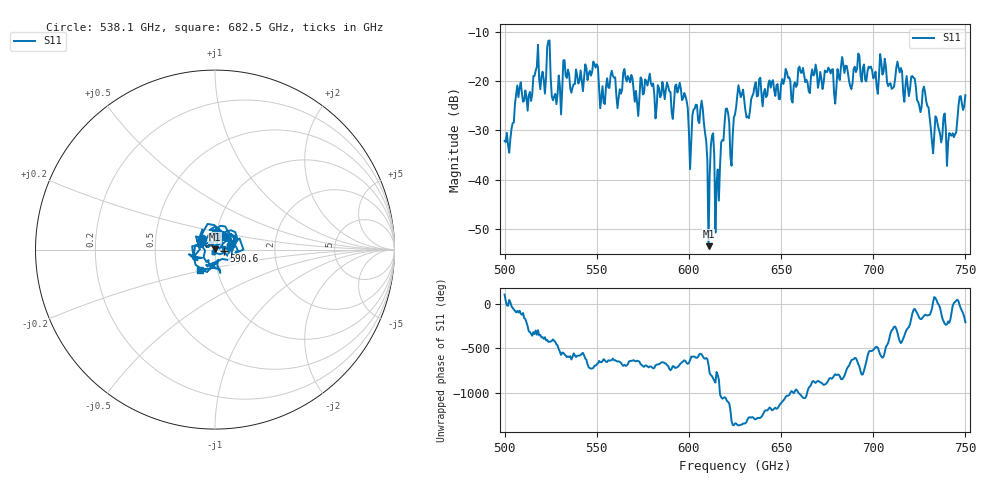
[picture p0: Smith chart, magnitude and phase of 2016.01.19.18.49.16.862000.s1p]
!Created with skrf (http://scikit-rf.org).
# GHz S RI R 50.0
!freq ReS11 ImS11
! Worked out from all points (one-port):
!   401 points, 500 GHz to 750 GHz, reference 50 ohm
!   lowest |S11| = -53.5 dB at 610.6 GHz (marker M1), VSWR 1.00, Z = 50.2 + j0.128 ohm
!   |S11| at or under -10 dB: start of sweep to end of sweep
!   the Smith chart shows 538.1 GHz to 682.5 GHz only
!   S11 on the Smith chart (normalised r, x): 538.1 GHz: 0.86, +0.10; 590.6 GHz: 1.10, -0.02; 682.5 GHz: 0.82, -0.19
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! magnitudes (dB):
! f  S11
! 500 GHz  -32.1
! 516.9 GHz  -17.8
! 520.6 GHz  -18.1
! 523.8 GHz  -11.8
! 526.9 GHz  -23.1
! 531.2 GHz  -21.8
! 538.1 GHz  -20.6
! 549.4 GHz  -17.2
! 553.1 GHz  -21.0
! 558.8 GHz  -18.9
! 562.5 GHz  -21.6
! 565.6 GHz  -19.2
! 590.6 GHz  -26.3
! 593.8 GHz  -22.3
! 600.6 GHz  -37.9
! 607.5 GHz  -25.5
! 610.6 GHz  -53.5
! 612.5 GHz  -31.1
! 615.6 GHz  -37.9
! 620 GHz  -25.6
! 623.1 GHz  -37.2
! 625 GHz  -26.7
! 656.2 GHz  -24.3
! 682.5 GHz  -17.0
! 687.5 GHz  -21.0
! 718.8 GHz  -21.1
! 741.2 GHz  -30.5
! 750 GHz  -22.8
